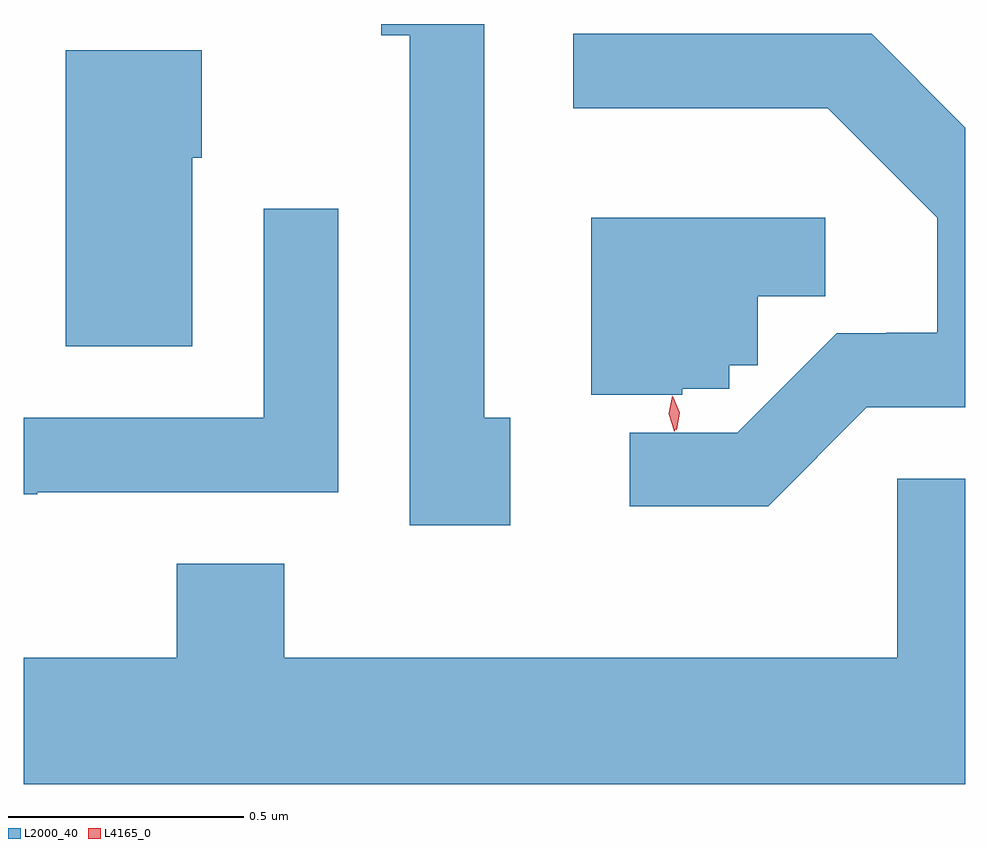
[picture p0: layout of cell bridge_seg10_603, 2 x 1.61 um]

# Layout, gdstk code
import gdstk
lib = gdstk.Library(unit=1e-6, precision=1e-09)
def P(c, l, *ps):  # polygons
    for p in ps: c.add(gdstk.Polygon(p, *l))
L2000_40 = (2000, 40)
L4165_0 = (4165, 0)

bridge_seg10_603 = lib.new_cell('bridge_seg10_603')
P(bridge_seg10_603, L2000_40, [(830.749,2192.394),(830.694,2192.394),(830.694,2193.23),(830.476,2193.23),(830.476,2193.206),(830.536,2193.206),(830.536,2192.166),(830.749,2192.166)],
  [(831.507,2192.416),(831.716,2192.416),(831.716,2193.01),(831.517,2193.209),(830.883,2193.209),(830.883,2193.051),(831.424,2193.051),(831.656,2192.819),(831.656,2192.574),(831.548,2192.574),(831.548,2192.573),(831.443,2192.573),(831.232,2192.362),(831.003,2192.362),(831.003,2192.206),(831.297,2192.206)],
  [(830.074,2192.946),(830.094,2192.946),(830.094,2193.174),(829.806,2193.174),(829.806,2192.546),(830.074,2192.546)],
  [(829.745,2192.236),(830.384,2192.236),(830.384,2192.838),(830.226,2192.838),(830.226,2192.394),(829.716,2192.394),(829.716,2192.231),(829.745,2192.231)],
  [(831.115,2192.455),(831.215,2192.455),(831.215,2192.505),(831.275,2192.505),(831.275,2192.652),(831.418,2192.652),(831.418,2192.819),(830.921,2192.819),(830.921,2192.443),(831.115,2192.443)],
  [(831.716,2192.264),(831.571,2192.264),(831.571,2191.884),(830.269,2191.884),(830.269,2192.084),(830.041,2192.084),(830.041,2191.884),(829.716,2191.884),(829.716,2191.616),(831.716,2191.616)])
P(bridge_seg10_603, L4165_0, [(831.098,2192.365),(831.086,2192.402),(831.093,2192.439),(831.093,2192.44),(831.094,2192.439),(831.106,2192.403),(831.099,2192.365),(831.099,2192.365)],
  [(831.102,2192.368),(831.102,2192.368),(831.089,2192.402),(831.095,2192.437),(831.096,2192.438),(831.096,2192.437),(831.109,2192.404),(831.103,2192.368)])

lib.write_gds('bridge_seg10_603.gds')
